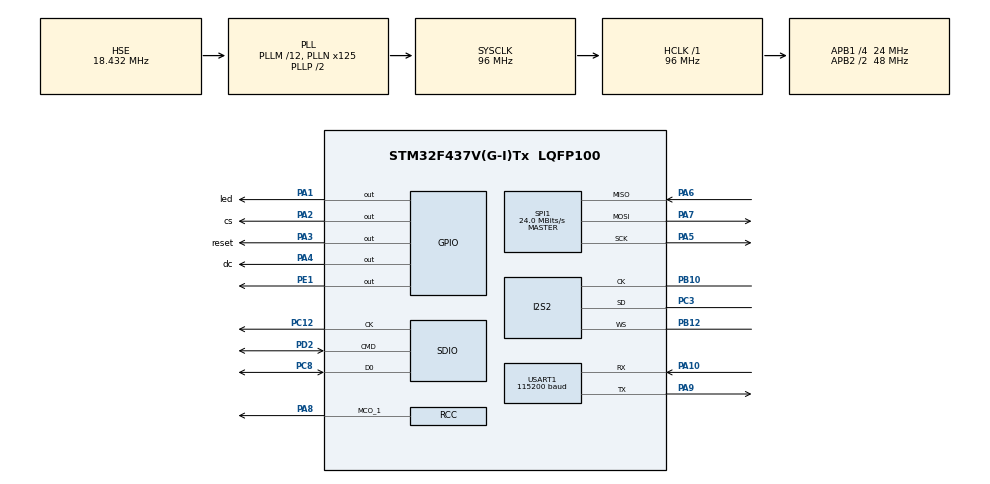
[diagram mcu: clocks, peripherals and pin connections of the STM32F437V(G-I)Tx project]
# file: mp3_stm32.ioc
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Dma.Request0=SPI2_TX
Dma.SPI2_TX.0.Direction=DMA_MEMORY_TO_PERIPH
Dma.SPI2_TX.0.FIFOMode=DMA_FIFOMODE_DISABLE
Dma.SPI2_TX.0.Instance=DMA1_Stream4
Dma.SPI2_TX.0.MemDataAlignment=DMA_MDATAALIGN_HALFWORD
Dma.SPI2_TX.0.MemInc=DMA_MINC_ENABLE
Dma.SPI2_TX.0.Mode=DMA_CIRCULAR
Dma.SPI2_TX.0.PeriphDataAlignment=DMA_PDATAALIGN_HALFWORD
Dma.SPI2_TX.0.PeriphInc=DMA_PINC_DISABLE
Dma.SPI2_TX.0.Priority=DMA_PRIORITY_LOW
FATFS._CODE_PAGE=1251
FATFS._USE_LFN=1
I2S2.AudioFreq=I2S_AUDIOFREQ_48K
I2S2.ErrorAudioFreq=0.0 %
I2S2.RealAudioFreq=48.0 KHz
I2S2.Standard=I2S_STANDARD_MSB
Mcu.Family=STM32F4
Mcu.Name=STM32F437V(G-I)Tx
Mcu.Package=LQFP100
NVIC.DMA1_Stream4_IRQn=true\:0\:0\:false\:false\:true
NVIC.PriorityGroup=NVIC_PRIORITYGROUP_4
PA1.GPIO_Label=led
PA1.Signal=GPIO_Output
PA10.Mode=Asynchronous
PA10.Signal=USART1_RX
PA13.Mode=Serial_Wire
PA13.Signal=SYS_JTMS-SWDIO
PA14.Mode=Serial_Wire
PA14.Signal=SYS_JTCK-SWCLK
PA2.GPIO_Label=cs
PA2.Signal=GPIO_Output
PA3.GPIO_Label=reset
PA3.Signal=GPIO_Output
PA4.GPIO_Label=dc
PA4.Signal=GPIO_Output
PA5.Mode=Full_Duplex_Master
PA5.Signal=SPI1_SCK
PA6.Mode=Full_Duplex_Master
PA6.Signal=SPI1_MISO
PA7.Mode=Full_Duplex_Master
PA7.Signal=SPI1_MOSI
PA8.Mode=Clock-out-1
PA8.Signal=RCC_MCO_1
PA9.Mode=Asynchronous
PA9.Signal=USART1_TX
PB10.Mode=Half_Duplex_Master
PB10.Signal=I2S2_CK
PB12.Mode=Half_Duplex_Master
PB12.Signal=I2S2_WS
PC12.Mode=SD_1_bit
PC12.Signal=SDIO_CK
PC3.Mode=Half_Duplex_Master
PC3.Signal=I2S2_SD
PC8.GPIO_PuPd=GPIO_PULLUP
PC8.Mode=SD_1_bit
PC8.Signal=SDIO_D0
PD2.GPIO_PuPd=GPIO_PULLUP
PD2.Mode=SD_1_bit
PD2.Signal=SDIO_CMD
PE1.Signal=GPIO_Output
PH0/OSC_IN.Mode=HSE-External-Oscillator
PH0/OSC_IN.Signal=RCC_OSC_IN
PH1/OSC_OUT.Mode=HSE-External-Oscillator
PH1/OSC_OUT.Signal=RCC_OSC_OUT
ProjectManager.HeapSize=0x1000
ProjectManager.StackSize=0x2000
ProjectManager.TargetToolchain=SW4STM32
RCC.48MHZClocksFreq_Value=48000000
RCC.AHBFreq_Value=96000000
RCC.APB1CLKDivider=RCC_HCLK_DIV4
RCC.APB1Freq_Value=24000000
RCC.APB1TimFreq_Value=48000000
RCC.APB2CLKDivider=RCC_HCLK_DIV2
RCC.APB2Freq_Value=48000000
RCC.APB2TimFreq_Value=96000000
RCC.CortexFreq_Value=96000000
RCC.HCLKFreq_Value=96000000
RCC.HSE_VALUE=18432000
RCC.HSI_VALUE=16000000
RCC.LSE_VALUE=32768
RCC.PLLM=12
RCC.PLLN=125
RCC.PLLSourceVirtual=RCC_PLLSOURCE_HSE
RCC.RCC_MCO1Source=RCC_MCO1SOURCE_HSE
RCC.SYSCLKFreq_VALUE=96000000
RCC.SYSCLKSource=RCC_SYSCLKSOURCE_PLLCLK
RCC.VCOOutputFreq_Value=192000000
SDIO.BusWide=SDIO_BUS_WIDE_1B
SDIO.ClockDiv=3
SPI1.BaudRatePrescaler=SPI_BAUDRATEPRESCALER_2
SPI1.CalculateBaudRate=24.0 MBits/s
SPI1.Mode=SPI_MODE_MASTER
USART1.BaudRate=115200
VP_FATFS_VS_SDIO.Mode=SDIO
board=mp3_stm32

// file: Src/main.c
/**
  ******************************************************************************
  * File Name          : main.c
  * Description        : Main program body
  ******************************************************************************
  *
  * COPYRIGHT(c) 2016 STMicroelectronics
  *
  * Redistribution and use in source and binary forms, with or without modification,
  * are permitted provided that the following conditions are met:
  *   1. Redistributions of source code must retain the above copyright notice,
  *      this list of conditions and the following disclaimer.
  *   2. Redistributions in binary form must reproduce the above copyright notice,
  *      this list of conditions and the following disclaimer in the documentation
  *      and/or other materials provided with the distribution.
  *   3. Neither the name of STMicroelectronics nor the names of its contributors
  *      may be used to endorse or promote products derived from this software
  *      without specific prior written permission.
  *
  * THIS SOFTWARE IS PROVIDED BY THE COPYRIGHT HOLDERS AND CONTRIBUTORS "AS IS"
  * AND ANY EXPRESS OR IMPLIED WARRANTIES, INCLUDING, BUT NOT LIMITED TO, THE
  * IMPLIED WARRANTIES OF MERCHANTABILITY AND FITNESS FOR A PARTICULAR PURPOSE ARE
  * DISCLAIMED. IN NO EVENT SHALL THE COPYRIGHT HOLDER OR CONTRIBUTORS BE LIABLE
  * FOR ANY DIRECT, INDIRECT, INCIDENTAL, SPECIAL, EXEMPLARY, OR CONSEQUENTIAL
  * DAMAGES (INCLUDING, BUT NOT LIMITED TO, PROCUREMENT OF SUBSTITUTE GOODS OR
  * SERVICES; LOSS OF USE, DATA, OR PROFITS; OR BUSINESS INTERRUPTION) HOWEVER
  * CAUSED AND ON ANY THEORY OF LIABILITY, WHETHER IN CONTRACT, STRICT LIABILITY,
  * OR TORT (INCLUDING NEGLIGENCE OR OTHERWISE) ARISING IN ANY WAY OUT OF THE USE
  * OF THIS SOFTWARE, EVEN IF ADVISED OF THE POSSIBILITY OF SUCH DAMAGE.
  *
  ******************************************************************************
  */
#include "stm32f4xx_hal.h"
#include "dma.h"
#include "fatfs.h"
#include "i2s.h"
#include "sdio.h"
#include "spi.h"
#include "usart.h"
#include "gpio.h"

/* USER CODE BEGIN Includes */
#include <stdio.h>
#include "wav.h"
#include "mp3dec.h"
#include "mp3.h"
#include "flac_s.h"

#include "ili.h"
/* USER CODE END Includes */

/* USER CODE BEGIN PV */
/* Private variables ---------------------------------------------------------*/

/* USER CODE END PV */

void SystemClock_Config(void);
void Error_Handler(void);

/* USER CODE BEGIN PFP */
/* Private function prototypes -----------------------------------------------*/

/* USER CODE END PFP */

/* USER CODE BEGIN 0 */
void HAL_I2S_TxHalfCpltCallback(I2S_HandleTypeDef *hi2s)
{
    //flac_swch(1);
    //flac_decode();
    //return;
    mp3_swch(1);
    mp3_decode();
    printf("h\n");
    return;
    wav_swch(1);
    wav_decode();
}
void HAL_I2S_TxCpltCallback(I2S_HandleTypeDef *hi2s)
{
    //flac_swch(0);
    //flac_decode();
    //return;
    mp3_swch(0);
    mp3_decode();
    printf("f\n");
    return;
    wav_swch(0);
    wav_decode();
}

/* USER CODE END 0 */

int main(void)
{

  /* MCU Configuration----------------------------------------------------------*/

  /* Reset of all peripherals, Initializes the Flash interface and the Systick. */
  HAL_Init();

  /* Configure the system clock */
  SystemClock_Config();

  /* Initialize all configured peripherals */
  MX_GPIO_Init();
  MX_DMA_Init();
  MX_SDIO_SD_Init();
  MX_FATFS_Init();
  MX_USART1_UART_Init();
  MX_I2S2_Init();
  MX_SPI1_Init();

  /* USER CODE BEGIN 2 */

    int i, j;

    TFT_led(1);
    TFT_init();
    TFT_setPixel(10, 10, RED);

    for(i=0; i<240; i++) {
	for(j=0; j<320; j++) {
	    TFT_setPixel(i, j, BLACK);
	}
    }

    for(i=0; i<100; i++) {
	TFT_setPixel(i, 50, RED);
	TFT_setPixel(i, 51, RED);

	TFT_setPixel(50, i, GREEN);
	TFT_setPixel(51, i, GREEN);
    }

    for(i=150; i<200; i++) {
	for(j=150; j<200; j++) {
	    TFT_setPixel(i, j, RED);
	}
    }

    while(1){}
    return;

    FATFS fatfs;
    FIL wa;
    uint16_t *buf;
    uint8_t res;

    printf("l\n");
    res = f_mount(&fatfs, SD_Path, 1);
    printf("mnt %d\n", res);
    res = f_open(&wa, "1.mp3", FA_READ | FA_OPEN_EXISTING);
    printf("opn %d\n", res);
    //open_f(&wa);

    //wav_decode();
    mp3_init();
    mp3_fopen(&wa);
    mp3_swch(1);
    mp3_decode();
    buf = mp3_getBuf();

    //FLACContext fc;
    //flac_open(&wa, &fc);
    //flac_swch(1);
    //flac_decode();
    //flac_swch(0);
    //flac_decode();
    //buf = flac_getBuf();
    HAL_I2S_Transmit_DMA(&hi2s2, buf, MAX_BLOCKSIZE * 4);

  /* USER CODE END 2 */

  /* Infinite loop */
  /* USER CODE BEGIN WHILE */
    while (1)
    {
	HAL_GPIO_TogglePin(GPIOE, GPIO_PIN_1);
	HAL_Delay(500);

  /* USER CODE END WHILE */

    }

}

/** System Clock Configuration
*/
void SystemClock_Config(void)
{

  RCC_OscInitTypeDef RCC_OscInitStruct;
  RCC_ClkInitTypeDef RCC_ClkInitStruct;
  RCC_PeriphCLKInitTypeDef PeriphClkInitStruct;

  __HAL_RCC_PWR_CLK_ENABLE();

  __HAL_PWR_VOLTAGESCALING_CONFIG(PWR_REGULATOR_VOLTAGE_SCALE3);

  RCC_OscInitStruct.OscillatorType = RCC_OSCILLATORTYPE_HSE;
  RCC_OscInitStruct.HSEState = RCC_HSE_ON;
  RCC_OscInitStruct.PLL.PLLState = RCC_PLL_ON;
  RCC_OscInitStruct.PLL.PLLSource = RCC_PLLSOURCE_HSE;
  RCC_OscInitStruct.PLL.PLLM = 12;
  RCC_OscInitStruct.PLL.PLLN = 125;
  RCC_OscInitStruct.PLL.PLLP = RCC_PLLP_DIV2;
  RCC_OscInitStruct.PLL.PLLQ = 4;
  if (HAL_RCC_OscConfig(&RCC_OscInitStruct) != HAL_OK)
  {
    Error_Handler();
  }

  RCC_ClkInitStruct.ClockType = RCC_CLOCKTYPE_HCLK|RCC_CLOCKTYPE_SYSCLK
                              |RCC_CLOCKTYPE_PCLK1|RCC_CLOCKTYPE_PCLK2;
  RCC_ClkInitStruct.SYSCLKSource = RCC_SYSCLKSOURCE_PLLCLK;
  RCC_ClkInitStruct.AHBCLKDivider = RCC_SYSCLK_DIV1;
  RCC_ClkInitStruct.APB1CLKDivider = RCC_HCLK_DIV4;
  RCC_ClkInitStruct.APB2CLKDivider = RCC_HCLK_DIV2;
  if (HAL_RCC_ClockConfig(&RCC_ClkInitStruct, FLASH_LATENCY_3) != HAL_OK)
  {
    Error_Handler();
  }

  PeriphClkInitStruct.PeriphClockSelection = RCC_PERIPHCLK_I2S;
  PeriphClkInitStruct.PLLI2S.PLLI2SN = 192;
  PeriphClkInitStruct.PLLI2S.PLLI2SR = 2;
  if (HAL_RCCEx_PeriphCLKConfig(&PeriphClkInitStruct) != HAL_OK)
  {
    Error_Handler();
  }

  HAL_RCC_MCOConfig(RCC_MCO1, RCC_MCO1SOURCE_HSE, RCC_MCODIV_1);

  HAL_SYSTICK_Config(HAL_RCC_GetHCLKFreq()/1000);

  HAL_SYSTICK_CLKSourceConfig(SYSTICK_CLKSOURCE_HCLK);

  /* SysTick_IRQn interrupt configuration */
  HAL_NVIC_SetPriority(SysTick_IRQn, 0, 0);
}

void Error_Handler(void)
{
    while(1)
    {
    }
}

/************************ (C) COPYRIGHT STMicroelectronics *****END OF FILE****/
